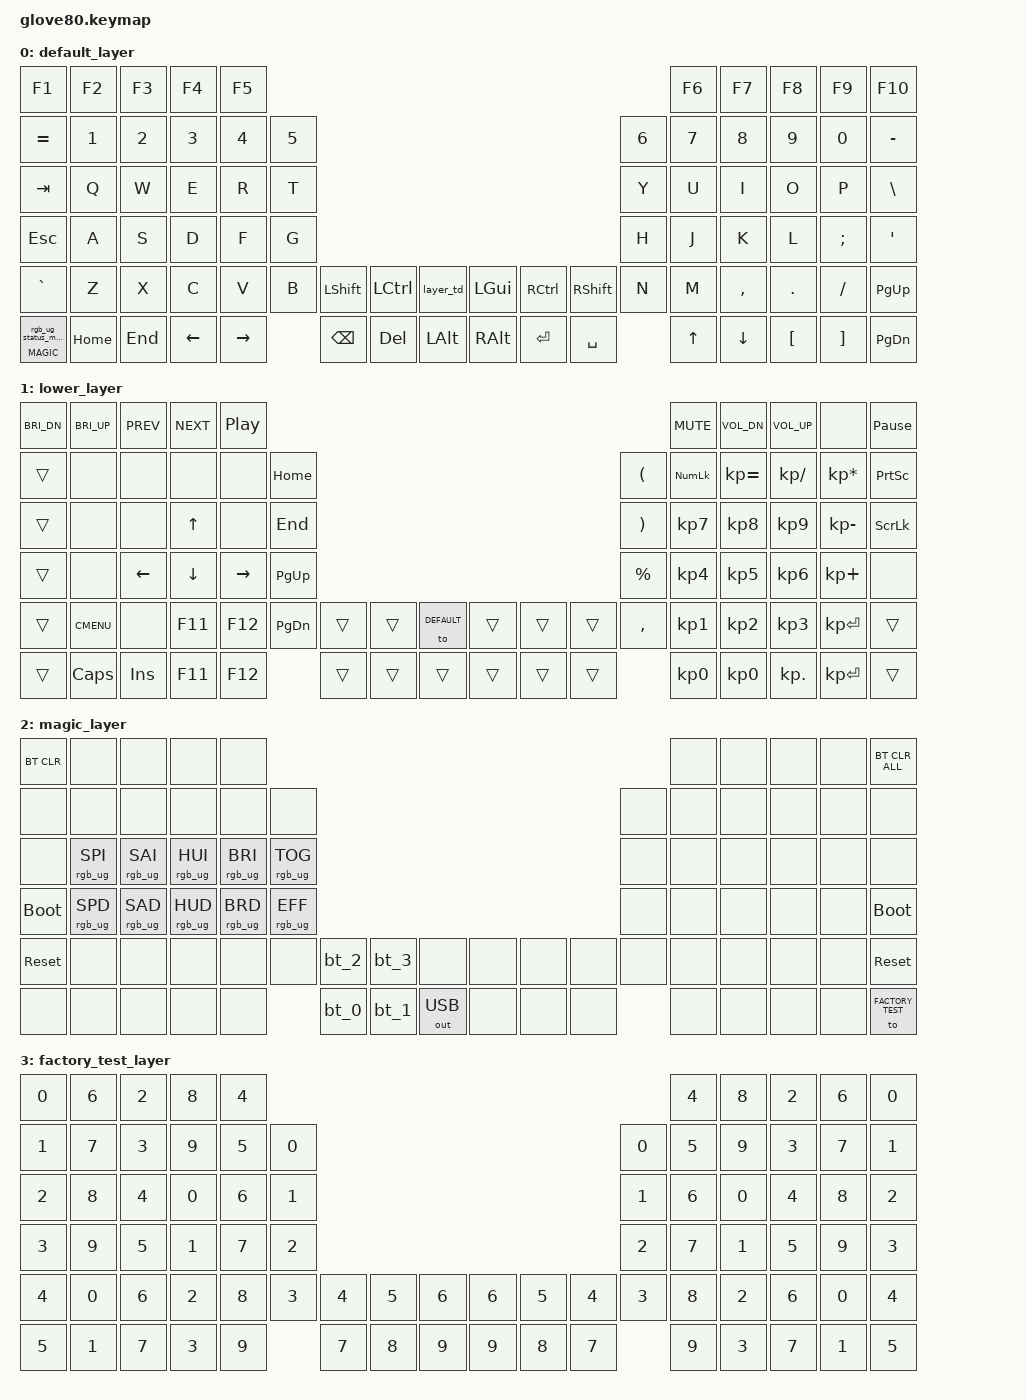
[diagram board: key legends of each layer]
/*
 * Copyright (c) 2020 The ZMK Contributors
 *
 * SPDX-License-Identifier: MIT
 */

#include <behaviors.dtsi>
#include <dt-bindings/zmk/keys.h>
#include <dt-bindings/zmk/bt.h>
#include <dt-bindings/zmk/ext_power.h>
#include <dt-bindings/zmk/outputs.h>
#include <dt-bindings/zmk/rgb.h>

#define HYPER LC(LS(LG(LALT)))

// layers
#define DEFAULT 0
#define LOWER 1
#define MAGIC 2
#define FACTORY_TEST 3

/ {
    combos {
        compatible = "zmk,combos";
        
        combo_ue {
            timeout-ms = <50>;
            key-positions = <23 13>; // U + E
            bindings = <&kp RA(Y)>; // ü
        };
        
        combo_ae {
            timeout-ms = <50>;
            key-positions = <21 13>; // A + E
            bindings = <&kp RA(Q)>; // ä
        };
        
        combo_oe {
            timeout-ms = <50>;
            key-positions = <24 13>; // O + E
            bindings = <&kp RA(P)>; // ö
        };
        
        combo_sz {
            timeout-ms = <50>;
            key-positions = <32 33>; // S + Z (on home row: Z + X since Z is left of S)
            bindings = <&kp RA(S)>; // ß
        };
    };

    behaviors {
        // For the "layer" key, it'd nice to be able to use it as either a shift or a toggle.
        // Configure it as a tap dance, so the first tap (or hold) is a &mo and the second tap is a &to
        layer_td: tap_dance_0 {
            compatible = "zmk,behavior-tap-dance";
            label = "LAYER_TAP_DANCE";
            #binding-cells = <0>;
            tapping-term-ms = <200>;
            bindings = <&mo LOWER>, <&to LOWER>;
        };

        magic: magic_hold_tap {
            compatible = "zmk,behavior-hold-tap";
            label = "MAGIC_HOLD_TAP";
            #binding-cells = <2>;
            flavor = "tap-preferred";
            tapping-term-ms = <200>;
            bindings = <&mo>, <&rgb_ug_status_macro>;
        };

        opt_a: option_a {
            compatible = "zmk,behavior-mod-morph";
            label = "OPTION_A";
            #binding-cells = <0>;
            bindings = <&kp A>, <&umlaut_a>;
            mods = <(MOD_LALT|MOD_RALT)>;
        };

        opt_o: option_o {
            compatible = "zmk,behavior-mod-morph";
            label = "OPTION_O";
            #binding-cells = <0>;
            bindings = <&kp O>, <&umlaut_o>;
            mods = <(MOD_LALT|MOD_RALT)>;
        };

        opt_u: option_u {
            compatible = "zmk,behavior-mod-morph";
            label = "OPTION_U";
            #binding-cells = <0>;
            bindings = <&kp U>, <&umlaut_u>;
            mods = <(MOD_LALT|MOD_RALT)>;
        };

        opt_s: option_s {
            compatible = "zmk,behavior-mod-morph";
            label = "OPTION_S";
            #binding-cells = <0>;
            bindings = <&kp S>, <&umlaut_s>;
            mods = <(MOD_LALT|MOD_RALT)>;
        };
    };

    macros {
        rgb_ug_status_macro: rgb_ug_status_macro_0 {
            label = "RGB_UG_STATUS";
            compatible = "zmk,behavior-macro";
            #binding-cells = <0>;
            bindings
                = <&rgb_ug RGB_STATUS>;
        };

        bt_0: bt_profile_macro_0 {
            label = "BT_0";
            compatible = "zmk,behavior-macro";
            #binding-cells = <0>;
            bindings
                = <&out OUT_BLE>,
                  <&bt BT_SEL 0>;
        };

        bt_1: bt_profile_macro_1 {
            label = "BT_1";
            compatible = "zmk,behavior-macro";
            #binding-cells = <0>;
            bindings
                = <&out OUT_BLE>,
                  <&bt BT_SEL 1>;
        };

        bt_2: bt_profile_macro_2 {
            label = "BT_2";
            compatible = "zmk,behavior-macro";
            #binding-cells = <0>;
            bindings
                = <&out OUT_BLE>,
                  <&bt BT_SEL 2>;
        };

        bt_3: bt_profile_macro_3 {
            label = "BT_3";
            compatible = "zmk,behavior-macro";
            #binding-cells = <0>;
            bindings
                = <&out OUT_BLE>,
                  <&bt BT_SEL 3>;
        };
        umlaut_a: umlaut_a_macro {
            label = "UMLAUT_A";
            compatible = "zmk,behavior-macro";
            #binding-cells = <0>;
            bindings = <&kp LALT &kp U &kp A>;
        };

        umlaut_o: umlaut_o_macro {
            label = "UMLAUT_O";
            compatible = "zmk,behavior-macro";
            #binding-cells = <0>;
            bindings = <&kp LALT &kp U &kp O>;
        };

        umlaut_u: umlaut_u_macro {
            label = "UMLAUT_U";
            compatible = "zmk,behavior-macro";
            #binding-cells = <0>;
            bindings = <&kp LALT &kp U &kp U>;
        };

        umlaut_s: umlaut_s_macro {
            label = "UMLAUT_S";
            compatible = "zmk,behavior-macro";
            #binding-cells = <0>;
            bindings = <&kp LALT &kp S>;
        };

    };

    keymap {
        compatible = "zmk,keymap";

        default_layer {
            // ---------------------------------------------------------------------------------------------------------------------------------
            // |  F1   |  F2 |  F3 |  F4  |  F5  |                                                               |  F6   |  F7   |  F8  |   F9  |  F10 |
            // |  =    |  1  |  2  |  3   |  4   |  5   |                                                 |  6   |   7   |   8   |  9   |   0   |   -  |
            // |  TAB  |  Q  |  W  |  E   |  R   |  T   |                                                 |  Y   |   U   |   I   |  O   |   P   |   \  |
            // |  ESC  |  A  |  S  |  D   |  F   |  G   |                                                 |  H   |   J   |   K   |  L   |   ;   |   '  |
            // |   `   |  Z  |  X  |  C   |  V   |  B   | LSHFT | LCTRL | LOWER | | LGUI  | RCTRL | RSHFT |  N   |   M   |   ,   |  .   |   /   | PGUP |
            // | MAGIC | HOME| END | LEFT | RIGHT|      | BSPC  | DEL   | LALT  | | RALT  | RET   | SPACE |      |  UP   | DOWN  |  [   |   ]   | PGDN |

            bindings = <
            &kp F1         &kp F2   &kp F3      &kp F4      &kp F5                                                                                         &kp F6  &kp F7      &kp F8      &kp F9      &kp F10
            &kp EQUAL      &kp N1   &kp N2      &kp N3      &kp N4      &kp N5                                                                     &kp N6  &kp N7  &kp N8      &kp N9      &kp N0      &kp MINUS
            &kp TAB        &kp Q    &kp W       &kp E       &kp R       &kp T                                                                      &kp Y   &kp U   &kp I       &kp O       &kp P       &kp BSLH
            &kp ESC        &kp A    &kp S       &kp D       &kp F       &kp G                                                                      &kp H   &kp J   &kp K       &kp L       &kp SEMI    &kp SQT
            &kp GRAVE      &kp Z    &kp X       &kp C       &kp V       &kp B   &kp LSHFT   &kp LCTRL   &layer_td  &kp LGUI  &kp RCTRL &kp RSHFT   &kp N   &kp M   &kp COMMA   &kp DOT     &kp FSLH    &kp PG_UP
            &magic MAGIC 0 &kp HOME &kp END     &kp LEFT    &kp RIGHT           &kp BSPC    &kp DEL     &kp LALT   &kp RALT  &kp RET   &kp SPACE           &kp UP  &kp DOWN    &kp LBKT    &kp RBKT    &kp PG_DN
            >;
        };

        lower_layer {
            bindings = <
            &kp C_BRI_DN      &kp C_BRI_UP        &kp C_PREV      &kp C_NEXT      &kp C_PP                                                                                                           &kp C_MUTE   &kp C_VOL_DN &kp C_VOL_UP  &none           &kp PAUSE_BREAK
            &trans            &none               &none           &none           &none           &kp HOME                                                                              &kp LPAR     &kp KP_NUM   &kp KP_EQUAL &kp KP_DIVIDE &kp KP_MULTIPLY &kp PSCRN
            &trans            &none               &none           &kp UP          &none           &kp END                                                                               &kp RPAR     &kp KP_N7    &kp KP_N8    &kp KP_N9     &kp KP_MINUS    &kp SLCK
            &trans            &none               &kp LEFT        &kp DOWN        &kp RIGHT       &kp PG_UP                                                                             &kp PRCNT    &kp KP_N4    &kp KP_N5    &kp KP_N6     &kp KP_PLUS     &none
            &trans            &kp K_CMENU         &none           &kp F11         &kp F12         &kp PG_DN       &trans      &trans      &to DEFAULT &trans      &trans      &trans    &kp COMMA    &kp KP_N1    &kp KP_N2    &kp KP_N3     &kp KP_ENTER    &trans
            &trans            &kp CAPS            &kp INS         &kp F11         &kp F12                         &trans      &trans      &trans      &trans      &trans      &trans                 &kp KP_N0    &kp KP_N0    &kp KP_DOT    &kp KP_ENTER    &trans
            >;
        };

        magic_layer {
            bindings = <
            &bt BT_CLR        &none               &none           &none           &none                                                                                                           &none      &none      &none      &none      &bt BT_CLR_ALL
            &none             &none               &none           &none           &none           &none                                                                                &none      &none      &none      &none      &none      &none
            &none             &rgb_ug RGB_SPI     &rgb_ug RGB_SAI &rgb_ug RGB_HUI &rgb_ug RGB_BRI &rgb_ug RGB_TOG                                                                      &none      &none      &none      &none      &none      &none
            &bootloader       &rgb_ug RGB_SPD     &rgb_ug RGB_SAD &rgb_ug RGB_HUD &rgb_ug RGB_BRD &rgb_ug RGB_EFF                                                                      &none      &none      &none      &none      &none      &bootloader
            &sys_reset        &none               &none           &none           &none           &none           &bt_2     &bt_3     &none            &none     &none     &none       &none      &none      &none      &none      &none      &sys_reset
            &none             &none               &none           &none           &none                           &bt_0     &bt_1     &out OUT_USB     &none     &none     &none                  &none      &none      &none      &none      &to FACTORY_TEST
            >;
        };

        factory_test_layer {
            bindings = <
            &kp N0   &kp N6   &kp N2   &kp N8   &kp N4                                                                              &kp N4   &kp N8   &kp N2   &kp N6   &kp N0
            &kp N1   &kp N7   &kp N3   &kp N9   &kp N5   &kp N0                                                            &kp N0   &kp N5   &kp N9   &kp N3   &kp N7   &kp N1
            &kp N2   &kp N8   &kp N4   &kp N0   &kp N6   &kp N1                                                            &kp N1   &kp N6   &kp N0   &kp N4   &kp N8   &kp N2
            &kp N3   &kp N9   &kp N5   &kp N1   &kp N7   &kp N2                                                            &kp N2   &kp N7   &kp N1   &kp N5   &kp N9   &kp N3
            &kp N4   &kp N0   &kp N6   &kp N2   &kp N8   &kp N3   &kp N4   &kp N5   &kp N6      &kp N6   &kp N5   &kp N4   &kp N3   &kp N8   &kp N2   &kp N6   &kp N0   &kp N4
            &kp N5   &kp N1   &kp N7   &kp N3   &kp N9            &kp N7   &kp N8   &kp N9      &kp N9   &kp N8   &kp N7            &kp N9   &kp N3   &kp N7   &kp N1   &kp N5
            >;
        };
    };
};
